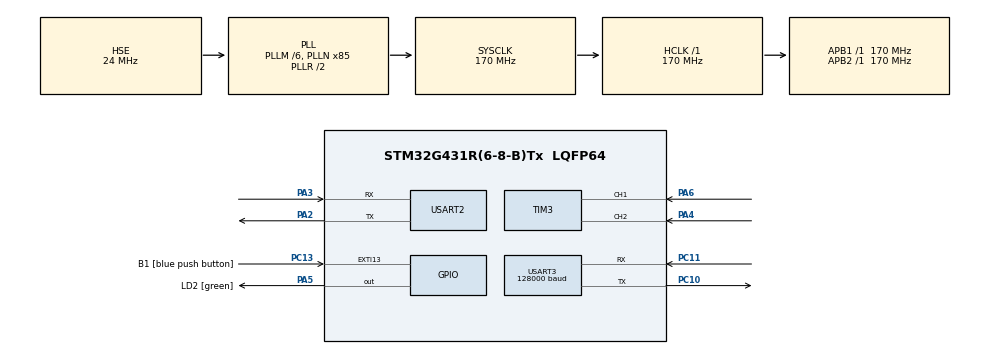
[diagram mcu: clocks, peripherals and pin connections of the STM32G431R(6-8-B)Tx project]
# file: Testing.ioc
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Dma.Request0=USART3_RX
Dma.Request1=USART3_TX
Dma.USART3_RX.0.Direction=DMA_PERIPH_TO_MEMORY
Dma.USART3_RX.0.EventEnable=DISABLE
Dma.USART3_RX.0.Instance=DMA1_Channel1
Dma.USART3_RX.0.MemDataAlignment=DMA_MDATAALIGN_BYTE
Dma.USART3_RX.0.MemInc=DMA_MINC_ENABLE
Dma.USART3_RX.0.Mode=DMA_CIRCULAR
Dma.USART3_RX.0.PeriphDataAlignment=DMA_PDATAALIGN_BYTE
Dma.USART3_RX.0.PeriphInc=DMA_PINC_DISABLE
Dma.USART3_RX.0.Polarity=HAL_DMAMUX_REQ_GEN_RISING
Dma.USART3_RX.0.Priority=DMA_PRIORITY_HIGH
Dma.USART3_RX.0.RequestNumber=1
Dma.USART3_RX.0.SignalID=NONE
Dma.USART3_RX.0.SyncEnable=DISABLE
Dma.USART3_RX.0.SyncPolarity=HAL_DMAMUX_SYNC_NO_EVENT
Dma.USART3_RX.0.SyncRequestNumber=1
Dma.USART3_RX.0.SyncSignalID=NONE
Dma.USART3_TX.1.Direction=DMA_MEMORY_TO_PERIPH
Dma.USART3_TX.1.EventEnable=DISABLE
Dma.USART3_TX.1.Instance=DMA1_Channel2
Dma.USART3_TX.1.MemDataAlignment=DMA_MDATAALIGN_BYTE
Dma.USART3_TX.1.MemInc=DMA_MINC_ENABLE
Dma.USART3_TX.1.Mode=DMA_CIRCULAR
Dma.USART3_TX.1.PeriphDataAlignment=DMA_PDATAALIGN_BYTE
Dma.USART3_TX.1.PeriphInc=DMA_PINC_DISABLE
Dma.USART3_TX.1.Polarity=HAL_DMAMUX_REQ_GEN_RISING
Dma.USART3_TX.1.Priority=DMA_PRIORITY_LOW
Dma.USART3_TX.1.RequestNumber=1
Dma.USART3_TX.1.SignalID=NONE
Dma.USART3_TX.1.SyncEnable=DISABLE
Dma.USART3_TX.1.SyncPolarity=HAL_DMAMUX_SYNC_NO_EVENT
Dma.USART3_TX.1.SyncRequestNumber=1
Dma.USART3_TX.1.SyncSignalID=NONE
FREERTOS.MEMORY_ALLOCATION=2
FREERTOS.Tasks01=defaultTask,0,128,StartDefaultTask,Default,NULL,Static,defaultTaskBuffer,defaultTaskControlBlock
FREERTOS.configCHECK_FOR_STACK_OVERFLOW=2
FREERTOS.configENABLE_BACKWARD_COMPATIBILITY=0
FREERTOS.configGENERATE_RUN_TIME_STATS=1
FREERTOS.configTOTAL_HEAP_SIZE=10000
FREERTOS.configUSE_IDLE_HOOK=1
FREERTOS.configUSE_NEWLIB_REENTRANT=1
FREERTOS.configUSE_STATS_FORMATTING_FUNCTIONS=1
FREERTOS.configUSE_TICKLESS_IDLE=0
FREERTOS.configUSE_TICK_HOOK=0
FREERTOS.configUSE_TRACE_FACILITY=1
Mcu.Family=STM32G4
Mcu.Name=STM32G431R(6-8-B)Tx
Mcu.Package=LQFP64
NVIC.DMA1_Channel1_IRQn=true\:8\:0\:true\:false\:true\:true\:false\:true\:true
NVIC.DMA1_Channel2_IRQn=true\:8\:0\:true\:false\:true\:true\:false\:true\:true
NVIC.PriorityGroup=NVIC_PRIORITYGROUP_4
NVIC.TIM6_DAC_IRQn=true\:15\:0\:false\:false\:true\:false\:false\:true\:true
NVIC.TimeBase=TIM6_DAC_IRQn
NVIC.TimeBaseIP=TIM6
NVIC.USART2_IRQn=true\:6\:0\:true\:false\:true\:true\:true\:true\:true
NVIC.USART3_IRQn=true\:7\:0\:true\:false\:true\:true\:true\:true\:true
PA13.GPIO_Label=T_SWDIO
PA13.Mode=Trace_Asynchronous_SW
PA13.Signal=SYS_JTMS-SWDIO
PA14.GPIO_Label=T_SWCLK
PA14.Mode=Trace_Asynchronous_SW
PA14.Signal=SYS_JTCK-SWCLK
PA2.Mode=Asynchronous
PA2.Signal=USART2_TX
PA3.Mode=Asynchronous
PA3.Signal=USART2_RX
PA4.Signal=S_TIM3_CH2
PA5.GPIO_Label=LD2 [green]
PA5.Signal=GPIO_Output
PA6.Signal=S_TIM3_CH1
PB3.GPIO_Label=T_SWO
PB3.Mode=Trace_Asynchronous_SW
PB3.Signal=SYS_JTDO-SWO
PC10.Mode=Asynchronous
PC10.Signal=USART3_TX
PC11.Mode=Asynchronous
PC11.Signal=USART3_RX
PC13.GPIO_Label=B1 [blue push button]
PC13.Signal=GPXTI13
PC14-OSC32_IN.GPIO_Label=RCC_OSC32_OUT
PC14-OSC32_IN.Signal=RCC_OSC32_IN
PC15-OSC32_OUT.GPIO_Label=RCC_OSC32_OUT
PC15-OSC32_OUT.Signal=RCC_OSC32_OUT
PF0-OSC_IN.GPIO_Label=RCC_OSC_IN
PF0-OSC_IN.Mode=HSE-External-Oscillator
PF0-OSC_IN.Signal=RCC_OSC_IN
PF1-OSC_OUT.GPIO_Label=RCC_OSC_OUT
PF1-OSC_OUT.Mode=HSE-External-Oscillator
PF1-OSC_OUT.Signal=RCC_OSC_OUT
ProjectManager.HeapSize=0x200
ProjectManager.StackSize=0x400
ProjectManager.TargetToolchain=STM32CubeIDE
RCC.ADC12Freq_Value=170000000
RCC.AHBFreq_Value=170000000
RCC.APB1Freq_Value=170000000
RCC.APB1TimFreq_Value=170000000
RCC.APB2Freq_Value=170000000
RCC.APB2TimFreq_Value=170000000
RCC.CortexFreq_Value=170000000
RCC.EXTERNAL_CLOCK_VALUE=12288000
RCC.HCLKFreq_Value=170000000
RCC.HSE_VALUE=24000000
RCC.HSI48_VALUE=48000000
RCC.HSI_VALUE=16000000
RCC.LSE_VALUE=32768
RCC.PLLM=RCC_PLLM_DIV6
RCC.PLLN=85
RCC.PLLSourceVirtual=RCC_PLLSOURCE_HSE
RCC.RTCClockSelection=RCC_RTCCLKSOURCE_LSE
RCC.SYSCLKFreq_VALUE=170000000
RCC.SYSCLKSource=RCC_SYSCLKSOURCE_PLLCLK
RCC.USBFreq_Value=170000000
RCC.VCOOutputFreq_Value=340000000
SH.S_TIM3_CH1.0=TIM3_CH1,Encoder_Interface
SH.S_TIM3_CH2.0=TIM3_CH2,Encoder_Interface
TIM3.AutoReloadPreload=TIM_AUTORELOAD_PRELOAD_ENABLE
USART2.VirtualMode-Asynchronous=VM_ASYNC
USART3.BaudRate=128000
USART3.OverrunDisableParam=ADVFEATURE_OVERRUN_DISABLE
USART3.VirtualMode-Asynchronous=VM_ASYNC
VP_FREERTOS_VS_CMSIS_V1.Mode=CMSIS_V1
VP_SYS_VS_DBSignals.Mode=DisableDeadBatterySignals
VP_SYS_VS_tim6.Mode=TIM6
board=NUCLEO-G431RB

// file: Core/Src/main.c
/* USER CODE BEGIN Header */
/**
 ******************************************************************************
 * @file           : main.c
 * @brief          : Main program body
 ******************************************************************************
 * @attention
 *
 * Copyright (c) 2024 STMicroelectronics.
 * All rights reserved.
 *
 * This software is licensed under terms that can be found in the LICENSE file
 * in the root directory of this software component.
 * If no LICENSE file comes with this software, it is provided AS-IS.
 *
 ******************************************************************************
 */
/* USER CODE END Header */
#include "main.h"
#include "cmsis_os.h"
#include "dma.h"
#include "tim.h"
#include "usart.h"
#include "gpio.h"

/* USER CODE BEGIN Includes */
#include "X4LIDAR_driver.h"
//#include "ydlidar_x4.h"
#include "shell.h"
#include "shell_drv_uart.h"

#include <stdbool.h>
#include <stdio.h>
#include <string.h>
/* USER CODE END Includes */

/* USER CODE BEGIN PV */
X4LIDAR_handle_t hlidar;
//static volatile __YDLIDAR_X4_HandleTypeDef hlidar;
/* USER CODE END PV */

void SystemClock_Config(void);
void MX_FREERTOS_Init(void);

/* USER CODE BEGIN 0 */
#ifdef SSD1306TEST
const uint8_t garfield_32x32 [] = {
		0xff, 0xff, 0xff, 0xff, 	/*Color of index 0*/
		0xff, 0xff, 0xff, 0xff, 	/*Color of index 1*/

		0xff, 0xff, 0xff, 0xff,
		0xff, 0xff, 0xff, 0xff,
		0xff, 0xdf, 0xdf, 0xff,
		0xff, 0xaf, 0xaf, 0xff,
		0xff, 0x30, 0x67, 0xff,
		0xff, 0x35, 0x67, 0xff,
		0xfe, 0xf7, 0x7b, 0xff,
		0xfc, 0xff, 0xfb, 0xff,
		0xfd, 0xff, 0xfd, 0xff,
		0xfd, 0xcf, 0x9d, 0xff,
		0xf9, 0xdf, 0xbc, 0xff,
		0xf0, 0xcf, 0x98, 0x7f,
		0xf9, 0xf8, 0xf8, 0xff,
		0xf0, 0xfd, 0xf8, 0x7f,
		0xfd, 0xe5, 0xbd, 0xff,
		0xfe, 0xf2, 0x73, 0xcf,
		0xff, 0x2d, 0xe7, 0xd7,
		0xff, 0x80, 0x1f, 0xdb,
		0xff, 0xbf, 0xef, 0xed,
		0xff, 0x7f, 0xf7, 0xed,
		0xfe, 0xff, 0xfb, 0xed,
		0xfe, 0xff, 0xf9, 0xdd,
		0xfc, 0xff, 0xf8, 0xbd,
		0xfc, 0xff, 0xfc, 0x7b,
		0xf8, 0xff, 0xfd, 0x77,
		0xfa, 0xb7, 0x6d, 0x6f,
		0xf2, 0xb7, 0x69, 0x5f,
		0xfb, 0x37, 0x63, 0x5f,
		0xfb, 0x37, 0x66, 0x1f,
		0xfc, 0x12, 0x20, 0x3f,
		0xfc, 0x00, 0x00, 0x7f,
		0xff, 0xff, 0xff, 0xff,
};
__io_put_char
#endif

// Declare your UART handle (make sure it's initialized in your code, usually in main or a separate UART initialization function)
extern UART_HandleTypeDef huart2; // Example for UART2, modify according to your setup

// The function to send a character to UART
int __io_putchar(int ch)
{
	// Send the character using HAL_UART_Transmit
	HAL_UART_Transmit(&huart2, (uint8_t*) &ch, 1, HAL_MAX_DELAY);

	return ch;  // Return the character back to the caller
}

void print_lidar_distances(h_shell_t *h_shell, int argc, char **argv)
{
	for (int i = MIN_ANGLE; i < MAX_ANGLE; i++)
	{
		printf("%s %d: %0.2f \r\n",
				"angle ", i,  hlidar.scan_data.distances[i]);
	}
}
void vApplicationStackOverflowHook(TaskHandle_t xTask, char *pcTaskName)
{
	Error_Handler();
}
/* USER CODE END 0 */

int main(void)
{

  /* USER CODE BEGIN 1 */
	//SCnSCB->ACTLR |= SCnSCB_ACTLR_DISDEFWBUF_Msk;  // Disable write buffer
  /* USER CODE END 1 */

  /* MCU Configuration--------------------------------------------------------*/

  /* Reset of all peripherals, Initializes the Flash interface and the Systick. */
  HAL_Init();

  /* Configure the system clock */
  SystemClock_Config();

  /* Initialize all configured peripherals */
  MX_GPIO_Init();
  MX_DMA_Init();
  MX_USART3_UART_Init();
  MX_USART2_UART_Init();
  MX_TIM3_Init();
  /* USER CODE BEGIN 2 */
	printf("-------------------------------------------\r\n");
	X4LIDAR_init(&hlidar, &huart3);
//	YDLIDAR_X4_Init(&hlidar, &huart3);

	shell_init(&h_shell);
	shell_add(&h_shell, "print_dist", print_lidar_distances,
			"print lidar buffer containing scanned distances");
	shell_createShellTask(&h_shell);

  /* USER CODE END 2 */

  /* Call init function for freertos objects (in cmsis_os2.c) */
  MX_FREERTOS_Init();

  /* Start scheduler */
  osKernelStart();

  /* We should never get here as control is now taken by the scheduler */

  /* Infinite loop */
	while (1)
	{

	}
}

void SystemClock_Config(void)
{
  RCC_OscInitTypeDef RCC_OscInitStruct = {0};
  RCC_ClkInitTypeDef RCC_ClkInitStruct = {0};

  /** Configure the main internal regulator output voltage
  */
  HAL_PWREx_ControlVoltageScaling(PWR_REGULATOR_VOLTAGE_SCALE1_BOOST);

  /** Initializes the RCC Oscillators according to the specified parameters
  * in the RCC_OscInitTypeDef structure.
  */
  RCC_OscInitStruct.OscillatorType = RCC_OSCILLATORTYPE_HSE;
  RCC_OscInitStruct.HSEState = RCC_HSE_ON;
  RCC_OscInitStruct.PLL.PLLState = RCC_PLL_ON;
  RCC_OscInitStruct.PLL.PLLSource = RCC_PLLSOURCE_HSE;
  RCC_OscInitStruct.PLL.PLLM = RCC_PLLM_DIV6;
  RCC_OscInitStruct.PLL.PLLN = 85;
  RCC_OscInitStruct.PLL.PLLP = RCC_PLLP_DIV2;
  RCC_OscInitStruct.PLL.PLLQ = RCC_PLLQ_DIV2;
  RCC_OscInitStruct.PLL.PLLR = RCC_PLLR_DIV2;
  if (HAL_RCC_OscConfig(&RCC_OscInitStruct) != HAL_OK)
  {
    Error_Handler();
  }

  /** Initializes the CPU, AHB and APB buses clocks
  */
  RCC_ClkInitStruct.ClockType = RCC_CLOCKTYPE_HCLK|RCC_CLOCKTYPE_SYSCLK
                              |RCC_CLOCKTYPE_PCLK1|RCC_CLOCKTYPE_PCLK2;
  RCC_ClkInitStruct.SYSCLKSource = RCC_SYSCLKSOURCE_PLLCLK;
  RCC_ClkInitStruct.AHBCLKDivider = RCC_SYSCLK_DIV1;
  RCC_ClkInitStruct.APB1CLKDivider = RCC_HCLK_DIV1;
  RCC_ClkInitStruct.APB2CLKDivider = RCC_HCLK_DIV1;

  if (HAL_RCC_ClockConfig(&RCC_ClkInitStruct, FLASH_LATENCY_4) != HAL_OK)
  {
    Error_Handler();
  }
}

/* USER CODE BEGIN 4 */
void HAL_UART_ErrorCallback(UART_HandleTypeDef *huart)
{
	//YDLIDAR_X4_HAL_UART_ErrorCallback(huart, &hlidar);

}

void HAL_UART_RxHalfCpltCallback(UART_HandleTypeDef *huart)
{

	//YDLIDAR_X4_HAL_UART_RxHalfCpltCallback(huart,&hlidar);
	X4LIDAR_HAL_UART_RxHalfCpltCallback(huart,&hlidar);

}

void HAL_UART_RxCpltCallback(UART_HandleTypeDef *huart)
{

	shell_drv_uart_HAL_UART_RxCpltCallback(huart);
	//YDLIDAR_X4_HAL_UART_RxCpltCallback(huart,&hlidar);
	X4LIDAR_HAL_UART_RxCpltCallback(huart,&hlidar);

}

void HAL_UART_TxCpltCallback(UART_HandleTypeDef *huart)
{
	shell_drv_uart_HAL_UART_TxCpltCallback(huart);
}
/* USER CODE END 4 */

void HAL_TIM_PeriodElapsedCallback(TIM_HandleTypeDef *htim)
{
  if (htim->Instance == TIM6) {
    HAL_IncTick();
  }
}

void Error_Handler(void)
{
	__disable_irq();
	while (1)
	{
	}
}

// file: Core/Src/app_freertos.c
/* USER CODE BEGIN Header */
/**
  ******************************************************************************
  * File Name          : app_freertos.c
  * Description        : Code for freertos applications
  ******************************************************************************
  * @attention
  *
  * Copyright (c) 2024 STMicroelectronics.
  * All rights reserved.
  *
  * This software is licensed under terms that can be found in the LICENSE file
  * in the root directory of this software component.
  * If no LICENSE file comes with this software, it is provided AS-IS.
  *
  ******************************************************************************
  */
/* USER CODE END Header */

#include "FreeRTOS.h"
#include "task.h"
#include "main.h"
#include "cmsis_os.h"

osThreadId defaultTaskHandle;
uint32_t defaultTaskBuffer[ 128 ];
osStaticThreadDef_t defaultTaskControlBlock;

void StartDefaultTask(void const * argument);

void MX_FREERTOS_Init(void); /* (MISRA C 2004 rule 8.1) */

/* GetIdleTaskMemory prototype (linked to static allocation support) */
void vApplicationGetIdleTaskMemory( StaticTask_t **ppxIdleTaskTCBBuffer, StackType_t **ppxIdleTaskStackBuffer, uint32_t *pulIdleTaskStackSize );

/* Hook prototypes */
void configureTimerForRunTimeStats(void);
unsigned long getRunTimeCounterValue(void);
void vApplicationIdleHook(void);
void vApplicationStackOverflowHook(TaskHandle_t xTask, signed char *pcTaskName);

/* USER CODE BEGIN 1 */
/* Functions needed when configGENERATE_RUN_TIME_STATS is on */
__weak void configureTimerForRunTimeStats(void)
{

}

__weak unsigned long getRunTimeCounterValue(void)
{
return 0;
}
/* USER CODE END 1 */

/* USER CODE BEGIN 2 */
__weak void vApplicationIdleHook( void )
{
   /* vApplicationIdleHook() will only be called if configUSE_IDLE_HOOK is set
   to 1 in FreeRTOSConfig.h. It will be called on each iteration of the idle
   task. It is essential that code added to this hook function never attempts
   to block in any way (for example, call xQueueReceive() with a block time
   specified, or call vTaskDelay()). If the application makes use of the
   vTaskDelete() API function (as this demo application does) then it is also
   important that vApplicationIdleHook() is permitted to return to its calling
   function, because it is the responsibility of the idle task to clean up
   memory allocated by the kernel to any task that has since been deleted. */
}
/* USER CODE END 2 */

/* USER CODE BEGIN 4 */
__weak void vApplicationStackOverflowHook(TaskHandle_t xTask, signed char *pcTaskName)
{
   /* Run time stack overflow checking is performed if
   configCHECK_FOR_STACK_OVERFLOW is defined to 1 or 2. This hook function is
   called if a stack overflow is detected. */
}
/* USER CODE END 4 */

/* USER CODE BEGIN GET_IDLE_TASK_MEMORY */
static StaticTask_t xIdleTaskTCBBuffer;
static StackType_t xIdleStack[configMINIMAL_STACK_SIZE];

void vApplicationGetIdleTaskMemory( StaticTask_t **ppxIdleTaskTCBBuffer, StackType_t **ppxIdleTaskStackBuffer, uint32_t *pulIdleTaskStackSize )
{
  *ppxIdleTaskTCBBuffer = &xIdleTaskTCBBuffer;
  *ppxIdleTaskStackBuffer = &xIdleStack[0];
  *pulIdleTaskStackSize = configMINIMAL_STACK_SIZE;
  /* place for user code */
}
/* USER CODE END GET_IDLE_TASK_MEMORY */

void MX_FREERTOS_Init(void) {

  /* Create the thread(s) */
  /* definition and creation of defaultTask */
  osThreadStaticDef(defaultTask, StartDefaultTask, osPriorityNormal, 0, 128, defaultTaskBuffer, &defaultTaskControlBlock);
  defaultTaskHandle = osThreadCreate(osThread(defaultTask), NULL);

}

void StartDefaultTask(void const * argument)
{
  for(;;)
  {
    osDelay(1);
  }
}
